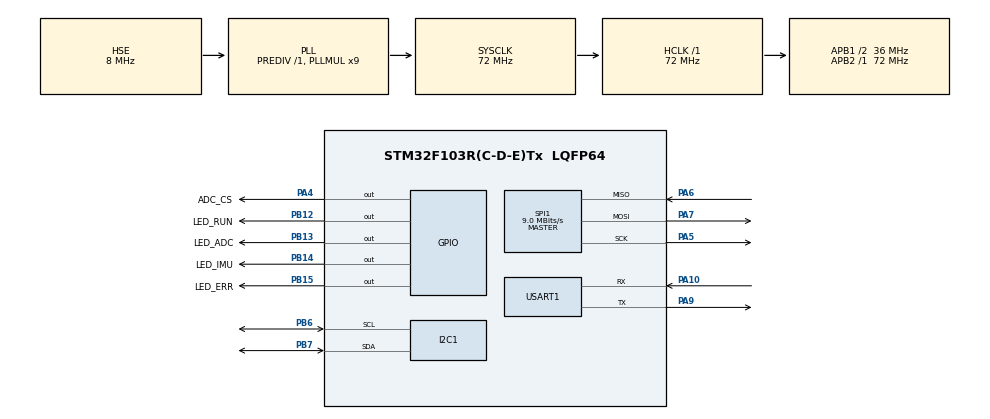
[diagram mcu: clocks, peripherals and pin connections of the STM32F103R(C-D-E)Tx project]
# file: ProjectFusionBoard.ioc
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Mcu.Family=STM32F1
Mcu.Name=STM32F103R(C-D-E)Tx
Mcu.Package=LQFP64
NVIC.PriorityGroup=NVIC_PRIORITYGROUP_4
PA10.Mode=Asynchronous
PA10.Signal=USART1_RX
PA13.Mode=Serial_Wire
PA13.Signal=SYS_JTMS-SWDIO
PA14.Mode=Serial_Wire
PA14.Signal=SYS_JTCK-SWCLK
PA4.GPIO_Label=ADC_CS
PA4.PinState=GPIO_PIN_SET
PA4.Signal=GPIO_Output
PA5.Mode=Full_Duplex_Master
PA5.Signal=SPI1_SCK
PA6.Mode=Full_Duplex_Master
PA6.Signal=SPI1_MISO
PA7.Mode=Full_Duplex_Master
PA7.Signal=SPI1_MOSI
PA9.Mode=Asynchronous
PA9.Signal=USART1_TX
PB12.GPIO_Label=LED_RUN
PB12.PinState=GPIO_PIN_RESET
PB12.Signal=GPIO_Output
PB13.GPIO_Label=LED_ADC
PB13.PinState=GPIO_PIN_RESET
PB13.Signal=GPIO_Output
PB14.GPIO_Label=LED_IMU
PB14.PinState=GPIO_PIN_RESET
PB14.Signal=GPIO_Output
PB15.GPIO_Label=LED_ERR
PB15.PinState=GPIO_PIN_RESET
PB15.Signal=GPIO_Output
PB6.Mode=I2C
PB6.Signal=I2C1_SCL
PB7.Mode=I2C
PB7.Signal=I2C1_SDA
PC14-OSC32_IN.Mode=LSE-External-Oscillator
PC14-OSC32_IN.Signal=RCC_OSC32_IN
PC15-OSC32_OUT.Mode=LSE-External-Oscillator
PC15-OSC32_OUT.Signal=RCC_OSC32_OUT
PD0-OSC_IN.GPIO_Label=RCC_OSC8_IN
PD0-OSC_IN.Mode=HSE-External-Oscillator
PD0-OSC_IN.Signal=RCC_OSC_IN
PD1-OSC_OUT.GPIO_Label=RCC_OSC8_OUT
PD1-OSC_OUT.Mode=HSE-External-Oscillator
PD1-OSC_OUT.Signal=RCC_OSC_OUT
ProjectManager.HeapSize=0x200
ProjectManager.StackSize=0x400
ProjectManager.TargetToolchain=MDK-ARM V5.32
RCC.AHBFreq_Value=72000000
RCC.APB1CLKDivider=RCC_HCLK_DIV2
RCC.APB1Freq_Value=36000000
RCC.APB1TimFreq_Value=72000000
RCC.APB2Freq_Value=72000000
RCC.APB2TimFreq_Value=72000000
RCC.HCLKFreq_Value=72000000
RCC.PLLMUL=RCC_PLL_MUL9
RCC.PLLSourceVirtual=RCC_PLLSOURCE_HSE
RCC.SYSCLKFreq_VALUE=72000000
RCC.SYSCLKSource=RCC_SYSCLKSOURCE_PLLCLK
RCC.USBFreq_Value=72000000
SPI1.BaudRatePrescaler=SPI_BAUDRATEPRESCALER_8
SPI1.CLKPhase=SPI_PHASE_2EDGE
SPI1.CLKPolarity=SPI_POLARITY_HIGH
SPI1.CalculateBaudRate=9.0 MBits/s
SPI1.Direction=SPI_DIRECTION_2LINES
SPI1.Mode=SPI_MODE_MASTER
SPI1.VirtualType=VM_MASTER
USART1.VirtualMode=VM_ASYNC
board=custom

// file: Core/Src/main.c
/* USER CODE BEGIN Header */
/**
  ******************************************************************************
  * @file           : main.c
  * @brief          : Main program body - 3x AD7177 test
  ******************************************************************************
  * @attention
  *
  * Copyright (c) 2026 STMicroelectronics.
  * All rights reserved.
  *
  * This software is licensed under terms that can be found in the LICENSE file
  * in the root directory of this software component.
  * If no LICENSE file comes with this software, it is provided AS-IS.
  *
  ******************************************************************************
  */
/* USER CODE END Header */
#include "main.h"

/* USER CODE BEGIN Includes */
#include <math.h>
#include <stdio.h>
#include <string.h>

#ifndef M_PI
#define M_PI    ((float)3.14159265358979323846f)
#endif

#include "i2c_hal_wrapper.h"
#include "mpu6050.h"
#include "ad7177.h"
#include "mag_residual_filter.h"
#include "uart_proto.h"
/* USER CODE END Includes */

/* USER CODE BEGIN PD */
#define ADC_FREQUENCY_HZ        ((uint32_t)50)   /* Keep <= configured AD7177 ODR (currently 59 SPS). */
#define IMU_FREQUENCY_HZ        ((uint32_t)200)  /* Faster attitude update than ADC loop. */
#define ADC_READ_PERIOD_MS      ((uint32_t)(1000U / ADC_FREQUENCY_HZ))
#define IMU_READ_PERIOD_MS      ((uint32_t)(1000U / IMU_FREQUENCY_HZ))
#define TEST_REPORT_PERIOD_MS   ADC_READ_PERIOD_MS
#define AD7177_DEVICE_COUNT     ((uint8_t)3)
#define MAG_FRONTEND_SCALE      ((float)4.0f)
#define MAG_NT_PER_OE           ((float)100000.0f)

#define AD7177_CS1_PORT         GPIOC
#define AD7177_CS1_PIN          GPIO_PIN_12
#define AD7177_CS2_PORT         GPIOB
#define AD7177_CS2_PIN          GPIO_PIN_3
#define AD7177_CS3_PORT         GPIOB
#define AD7177_CS3_PIN          GPIO_PIN_5

#define STATUS_LED_RUN_PORT     GPIOB
#define STATUS_LED_RUN_PIN      GPIO_PIN_12
#define STATUS_LED_ADC_PORT     GPIOB
#define STATUS_LED_ADC_PIN      GPIO_PIN_13
#define STATUS_LED_IMU_PORT     GPIOB
#define STATUS_LED_IMU_PIN      GPIO_PIN_14
#define STATUS_LED_ERR_PORT     GPIOB
#define STATUS_LED_ERR_PIN      GPIO_PIN_15
#define STATUS_LED_ACTIVE       GPIO_PIN_SET
#define STATUS_LED_INACTIVE     GPIO_PIN_RESET
#define STATUS_LED_RUN_PERIOD_MS       ((uint32_t)500)
#define STATUS_LED_OK_HOLD_MS          ((uint32_t)250)
#define STATUS_LED_ERR_BLINK_MS        ((uint32_t)200)
#define STATUS_LED_ADC_TIMEOUT_LIMIT   ((uint32_t)3)
#define STATUS_LED_IMU_ERROR_LIMIT     ((uint32_t)10)

#define ERR_MPU6050_INIT        ((uint8_t)1)
#define ERR_SPI_ADC_INIT        ((uint8_t)2)
#define ERR_UART_INIT           ((uint8_t)3)
#define MPU6050_STARTUP_DELAY_MS ((uint32_t)100)
#define MPU6050_INIT_RETRY_COUNT ((uint8_t)5)
#define MPU6050_INIT_RETRY_DELAY_MS ((uint32_t)20)
/* USER CODE END PD */

I2C_HandleTypeDef hi2c1;
SPI_HandleTypeDef hspi1;
UART_HandleTypeDef huart1;

/* USER CODE BEGIN PV */
volatile uint32_t g_SystemTick = 0;
static volatile uint8_t g_ErrorCode = 0;
volatile uint8_t g_IsInitialized = 0;
volatile uint8_t g_UartReady = 0;
static volatile uint8_t g_SensorDataFresh = 0;
static volatile uint8_t g_ImuDataFresh = 0;
static volatile uint32_t g_ImuConsecutiveErrors = 0;
static volatile uint32_t g_AdcConsecutiveTimeouts = 0;

static MPU6050_Handle_t hMPU6050;
static AD7177_Handle_t hAD7177[AD7177_DEVICE_COUNT];
UART_Proto_Handle_t hUART_Proto;

static uint32_t lastSensorRead = 0;
static uint32_t lastTestReport = 0;
static uint32_t lastImuRead = 0;

static float adc_voltage[AD7177_DEVICE_COUNT] = {0.0f};
static float mag_nt[AD7177_DEVICE_COUNT] = {0.0f};
static float imu_roll = 0.0f;
static float imu_pitch = 0.0f;
static float imu_temperature = 0.0f;
static float vertical_proj_raw = 0.0f;
static float vertical_proj = 0.0f;
static MagResidualFilter_t mag_residual_filter;
static const float mag_sensitivity_v_per_oe[AD7177_DEVICE_COUNT] = {
  10.3904f,
  10.5235f,
  10.9590f
};
static const float mag_zero_offset_v[AD7177_DEVICE_COUNT] = {
  -0.1350f,
  -0.1949f,
  -0.1795f
};
static int8_t mpu_init_status = MPU6050_OK;
static uint8_t mpu_init_address = 0;
static uint8_t mpu_init_device_id = 0;
static int8_t mpu_probe_status[2] = {MPU6050_ERROR, MPU6050_ERROR};
static uint8_t mpu_probe_device_id[2] = {0, 0};
/* USER CODE END PV */

void SystemClock_Config(void);
static void MX_GPIO_Init(void);
static void MX_I2C1_Init(void);
static void MX_SPI1_Init(void);
static void MX_USART1_UART_Init(void);

/* USER CODE BEGIN PFP */
static void Init_System_Tick(void);
static uint8_t Init_All_Drivers(void);
static void Process_Sensor_Data(void);
static void Process_Test_Report(void);
static void Handle_Init_Error(uint8_t error_code);
static void UART_SendString(const char *str);
static void UART_SendFormattedBuffer(const char *buf, size_t buf_size, int len, uint32_t timeout);
static void UART_SendMpuInitDebug(void);
static void UART_SendI2CBusScan(void);
static void UART_SendDataHeader(void);
static void Update_Status_LEDs(uint8_t init_error_code);
/* USER CODE END PFP */

/* USER CODE BEGIN 0 */
static void UART_SendString(const char *str)
{
  if (str != NULL)
  {
    HAL_UART_Transmit(&huart1, (uint8_t *)str, (uint16_t)strlen(str), 100);
  }
}

static void UART_SendFormattedBuffer(const char *buf, size_t buf_size, int len, uint32_t timeout)
{
  if ((buf != NULL) && (len > 0) && ((size_t)len < buf_size))
  {
    HAL_UART_Transmit(&huart1, (uint8_t *)buf, (uint16_t)len, timeout);
  }
}

static void UART_SendFrequencyInfo(void)
{
  char txBuf[48];
  int len = snprintf(txBuf,
                     sizeof(txBuf),
                     "frequency=%luHz\r\n",
                     (unsigned long)ADC_FREQUENCY_HZ);

  UART_SendFormattedBuffer(txBuf, sizeof(txBuf), len, 100);
}

static void UART_SendDataHeader(void)
{
  UART_SendString("{text}b1_nT,b2_nT,b3_nT,acc_x,acc_y,acc_z,gyro_x,gyro_y,gyro_z,stm32_roll_deg,stm32_pitch_deg,vertical_raw_nT,vertical_corr_nT\r\n");
}

static void UART_SendMpuInitDebug(void)
{
  char txBuf[128];
  int len = snprintf(txBuf,
                     sizeof(txBuf),
                     "MPU_INIT status=%d addr=0x%02X whoami=0x%02X probe[D0]=%d/0x%02X probe[D2]=%d/0x%02X\r\n",
                     (int)mpu_init_status,
                     mpu_init_address,
                     mpu_init_device_id,
                     (int)mpu_probe_status[0],
                     mpu_probe_device_id[0],
                     (int)mpu_probe_status[1],
                     mpu_probe_device_id[1]);

  UART_SendFormattedBuffer(txBuf, sizeof(txBuf), len, 100);
}

static void UART_SendI2CBusScan(void)
{
  char txBuf[160];
  int len = snprintf(txBuf, sizeof(txBuf), "I2C_SCAN:");
  uint8_t found = 0;

  for (uint8_t address = 0x08; address < 0x78; address++)
  {
    if (HAL_I2C_IsDeviceReady(&hi2c1, (uint16_t)(address << 1), 2, 20) == HAL_OK)
    {
      if (len > 0 && len < (int)(sizeof(txBuf) - 8))
      {
        len += snprintf(&txBuf[len], sizeof(txBuf) - (size_t)len, " 0x%02X", address);
        found = 1;
      }
    }
  }

  if (!found && len > 0 && len < (int)(sizeof(txBuf) - 5))
  {
    len += snprintf(&txBuf[len], sizeof(txBuf) - (size_t)len, " none");
  }

  if (len > 0 && len < (int)(sizeof(txBuf) - 3))
  {
    len += snprintf(&txBuf[len], sizeof(txBuf) - (size_t)len, "\r\n");
    UART_SendFormattedBuffer(txBuf, sizeof(txBuf), len, 200);
  }
}
/* USER CODE END 0 */

int main(void)
{
  HAL_Init();
  SystemClock_Config();

  MX_GPIO_Init();
  MX_I2C1_Init();
  MX_SPI1_Init();
  MX_USART1_UART_Init();
  g_UartReady = 1;

  Init_System_Tick();
  UART_SendString("BOOT\r\n");

  if (Init_All_Drivers() != 0)
  {
    while (1)
    {
      Handle_Init_Error(g_ErrorCode);
    }
  }

  imu_roll = hMPU6050.Attitude.Roll;
  imu_pitch = hMPU6050.Attitude.Pitch;
  imu_temperature = hMPU6050.Data.Temp;
  MagResidualFilter_Init(&mag_residual_filter);

  g_IsInitialized = 1;
  (void)imu_temperature;
  UART_SendFrequencyInfo();
  UART_SendString("3xAD7177 test start\r\n");
  UART_SendDataHeader();

  while (1)
  {
    if ((g_SystemTick - lastImuRead) >= IMU_READ_PERIOD_MS)
    {
      lastImuRead = g_SystemTick;

      if ((MPU6050_ReadRawData(&hMPU6050) == MPU6050_OK) &&
          (MPU6050_UpdateAttitude(&hMPU6050) == MPU6050_OK))
      {
        imu_roll = hMPU6050.Attitude.Roll;
        imu_pitch = hMPU6050.Attitude.Pitch;
        imu_temperature = hMPU6050.Data.Temp;
        g_ImuDataFresh = 1;
        g_ImuConsecutiveErrors = 0;
      }
      else
      {
        g_ImuConsecutiveErrors++;
        g_ImuDataFresh = 0;
      }
    }

    if ((g_SystemTick - lastSensorRead) >= ADC_READ_PERIOD_MS)
    {
      float adc_voltage_next[AD7177_DEVICE_COUNT];
      uint8_t all_adc_fresh = 1;

      lastSensorRead = g_SystemTick;
      g_SensorDataFresh = 0;

      for (uint8_t i = 0; i < AD7177_DEVICE_COUNT; i++)
      {
        if ((AD7177_ReadData(&hAD7177[i], 0, &hAD7177[i].RawData[0]) != AD7177_OK) ||
            (AD7177_GetVoltage(&hAD7177[i], 0, &adc_voltage_next[i]) != AD7177_OK))
        {
          all_adc_fresh = 0;
        }
      }

      if (all_adc_fresh)
      {
        for (uint8_t i = 0; i < AD7177_DEVICE_COUNT; i++)
        {
          adc_voltage[i] = adc_voltage_next[i];
        }
        g_SensorDataFresh = 1;
        g_AdcConsecutiveTimeouts = 0;
      }
      else
      {
        g_AdcConsecutiveTimeouts++;
      }
    }

    if (g_SensorDataFresh)
    {
      Process_Sensor_Data();
      g_SensorDataFresh = 0;
      g_ImuDataFresh = 0;
    }
    else if (g_ImuDataFresh)
    {
      g_ImuDataFresh = 0;
    }

    if ((g_SystemTick - lastTestReport) >= TEST_REPORT_PERIOD_MS)
    {
      lastTestReport = g_SystemTick;
      Process_Test_Report();
    }

    Update_Status_LEDs(0);
    HAL_Delay(1);
  }
}

/* USER CODE BEGIN 4 */
static void Init_System_Tick(void)
{
  g_SystemTick = 0;
}

static uint8_t Init_All_Drivers(void)
{
  MPU6050_Config_t mpu_config = {
    .hi2c = &hi2c1,
    .I2cAddress = 0,
    .AccelRange = MPU6050_ACCEL_RANGE_2G,
    .GyroRange = MPU6050_GYRO_RANGE_500DPS,
    .DlpfBandwidth = MPU6050_DLPF_BW_42HZ,
    .SampleRateDiv = 4,
    .Timeout = 100
  };
  const uint8_t mpu_probe_addresses[] = {
    (uint8_t)(MPU6050_ADDR_AD0_LOW << 1),
    (uint8_t)(MPU6050_ADDR_AD0_HIGH << 1)
  };
  AD7177_Config_t adc_config = {
    .hspi = &hspi1,
    .CsPort = AD7177_CS1_PORT,
    .CsPin = AD7177_CS1_PIN,
    .CrcMode = AD7177_CRC_DISABLE,
    .Timeout = 100,
    .ReferenceVoltage_mV = 5000.0f,
    .UseExternalRef = 1
  };

  if (huart1.Instance != USART1)
  {
    g_ErrorCode = ERR_UART_INIT;
    return g_ErrorCode;
  }

  mpu_init_status = MPU6050_ERROR;
  mpu_init_address = 0;
  mpu_init_device_id = 0;
  mpu_probe_status[0] = MPU6050_ERROR;
  mpu_probe_status[1] = MPU6050_ERROR;
  mpu_probe_device_id[0] = 0;
  mpu_probe_device_id[1] = 0;

  HAL_Delay(MPU6050_STARTUP_DELAY_MS);

  for (uint8_t i = 0; i < (sizeof(mpu_probe_addresses) / sizeof(mpu_probe_addresses[0])); i++)
  {
    for (uint8_t retry = 0; retry < MPU6050_INIT_RETRY_COUNT; retry++)
    {
      mpu_config.I2cAddress = mpu_probe_addresses[i];
      mpu_init_address = mpu_probe_addresses[i];
      mpu_init_status = MPU6050_Init(&hMPU6050, &mpu_config);
      mpu_init_device_id = hMPU6050.DeviceID;
      mpu_probe_status[i] = mpu_init_status;
      mpu_probe_device_id[i] = hMPU6050.DeviceID;

      if (mpu_init_status == MPU6050_OK)
      {
        break;
      }

      HAL_Delay(MPU6050_INIT_RETRY_DELAY_MS);
    }

    if (mpu_init_status == MPU6050_OK)
    {
      break;
    }
  }

  if (mpu_init_status != MPU6050_OK)
  {
    g_ErrorCode = ERR_MPU6050_INIT;
    return g_ErrorCode;
  }

  adc_config.Channels[0].Channel = 0;
  adc_config.Channels[0].AinPos = 3;
  adc_config.Channels[0].AinNeg = 4;
  adc_config.Channels[0].SetupSel = 0;
  adc_config.Channels[0].Enabled = 1;

  adc_config.Setups[0].Bipolar = 1;
  adc_config.Setups[0].RefSel = 0;
  /* Keep ADC ODR slightly above the system loop rate so each cycle can fetch fresh data. */
  adc_config.Setups[0].Odr = AD7177_ODR_59SPS;
  adc_config.Setups[0].FilterOrder = 0;

  if (AD7177_Init(&hAD7177[0], &adc_config) != AD7177_OK)
  {
    g_ErrorCode = ERR_SPI_ADC_INIT;
    return g_ErrorCode;
  }

  adc_config.CsPort = AD7177_CS2_PORT;
  adc_config.CsPin = AD7177_CS2_PIN;
  if (AD7177_Init(&hAD7177[1], &adc_config) != AD7177_OK)
  {
    g_ErrorCode = ERR_SPI_ADC_INIT;
    return g_ErrorCode;
  }

  adc_config.CsPort = AD7177_CS3_PORT;
  adc_config.CsPin = AD7177_CS3_PIN;
  if (AD7177_Init(&hAD7177[2], &adc_config) != AD7177_OK)
  {
    g_ErrorCode = ERR_SPI_ADC_INIT;
    return g_ErrorCode;
  }

  return 0;
}

static void Process_Sensor_Data(void)
{
  float roll_rad;
  float pitch_rad;

  if (isnan(imu_roll) || isinf(imu_roll) ||
      isnan(imu_pitch) || isinf(imu_pitch))
  {
    roll_rad = 0.0f;
    pitch_rad = 0.0f;
  }
  else
  {
    roll_rad = imu_roll * ((float)M_PI / 180.0f);
    pitch_rad = imu_pitch * ((float)M_PI / 180.0f);
  }

  const float vertical_unit[3] = {
    -sinf(pitch_rad),
    sinf(roll_rad) * cosf(pitch_rad),
    cosf(roll_rad) * cosf(pitch_rad)
  };

  for (uint8_t i = 0; i < AD7177_DEVICE_COUNT; i++)
  {
    float sensor_voltage;

    if (isnan(adc_voltage[i]) || isinf(adc_voltage[i]))
    {
      adc_voltage[i] = 0.0f;
    }

    sensor_voltage = adc_voltage[i] * MAG_FRONTEND_SCALE;
    mag_nt[i] = ((sensor_voltage - mag_zero_offset_v[i]) /
                 mag_sensitivity_v_per_oe[i]) * MAG_NT_PER_OE;
  }

  vertical_proj_raw = (mag_nt[0] * vertical_unit[0]) +
                      (mag_nt[1] * vertical_unit[1]) +
                      (mag_nt[2] * vertical_unit[2]);

  if (isnan(vertical_proj_raw) || isinf(vertical_proj_raw))
  {
    vertical_proj_raw = 0.0f;
  }

  vertical_proj = MagResidualFilter_Update(&mag_residual_filter,
                                           mag_nt,
                                           vertical_unit,
                                           vertical_proj_raw);
}

static void Process_Test_Report(void)
{
  char txBuf[280];
  int len = snprintf(
      txBuf,
      sizeof(txBuf),
      "{plotter}%.6f,%.6f,%.6f,%.6f,%.6f,%.6f,%.6f,%.6f,%.6f,%.6f,%.6f,%.6f,%.6f\r\n",
      mag_nt[0],
      mag_nt[1],
      mag_nt[2],
      hMPU6050.Data.AccelX,
      hMPU6050.Data.AccelY,
      hMPU6050.Data.AccelZ,
      hMPU6050.Data.GyroX,
      hMPU6050.Data.GyroY,
      hMPU6050.Data.GyroZ,
      hMPU6050.Attitude.Roll,
      hMPU6050.Attitude.Pitch,
      vertical_proj_raw,
      vertical_proj);

  UART_SendFormattedBuffer(txBuf, sizeof(txBuf), len, 100);
}

static void Handle_Init_Error(uint8_t error_code)
{
  char txBuf[48];
  int len = snprintf(txBuf, sizeof(txBuf), "INIT_ERROR:%u\r\n", error_code);

  UART_SendFormattedBuffer(txBuf, sizeof(txBuf), len, 100);

  if (error_code == ERR_MPU6050_INIT)
  {
    UART_SendMpuInitDebug();
    UART_SendI2CBusScan();
  }

  for (uint8_t i = 0; i < 10; i++)
  {
    Update_Status_LEDs(error_code);
    HAL_Delay(50);
  }
}

static void Update_Status_LEDs(uint8_t init_error_code)
{
  (void)init_error_code;
}

/* USER CODE END 4 */

void SystemClock_Config(void)
{
  RCC_OscInitTypeDef RCC_OscInitStruct = {0};
  RCC_ClkInitTypeDef RCC_ClkInitStruct = {0};

  RCC_OscInitStruct.OscillatorType = RCC_OSCILLATORTYPE_HSE;
  RCC_OscInitStruct.HSEState = RCC_HSE_ON;
  RCC_OscInitStruct.HSEPredivValue = RCC_HSE_PREDIV_DIV1;
  RCC_OscInitStruct.HSIState = RCC_HSI_ON;
  RCC_OscInitStruct.PLL.PLLState = RCC_PLL_ON;
  RCC_OscInitStruct.PLL.PLLSource = RCC_PLLSOURCE_HSE;
  RCC_OscInitStruct.PLL.PLLMUL = RCC_PLL_MUL9;
  if (HAL_RCC_OscConfig(&RCC_OscInitStruct) != HAL_OK)
  {
    Error_Handler();
  }

  RCC_ClkInitStruct.ClockType = RCC_CLOCKTYPE_HCLK | RCC_CLOCKTYPE_SYSCLK
                              | RCC_CLOCKTYPE_PCLK1 | RCC_CLOCKTYPE_PCLK2;
  RCC_ClkInitStruct.SYSCLKSource = RCC_SYSCLKSOURCE_PLLCLK;
  RCC_ClkInitStruct.AHBCLKDivider = RCC_SYSCLK_DIV1;
  RCC_ClkInitStruct.APB1CLKDivider = RCC_HCLK_DIV2;
  RCC_ClkInitStruct.APB2CLKDivider = RCC_HCLK_DIV1;

  if (HAL_RCC_ClockConfig(&RCC_ClkInitStruct, FLASH_LATENCY_2) != HAL_OK)
  {
    Error_Handler();
  }
}

static void MX_GPIO_Init(void)
{
  GPIO_InitTypeDefdrift removal GPIO_InitStruct = {0};

  __HAL_RCC_GPIOC_CLK_ENABLE();
  __HAL_RCC_GPIOA_CLK_ENABLE();
  __HAL_RCC_GPIOB_CLK_ENABLE();
  __HAL_RCC_GPIOD_CLK_ENABLE();

  GPIO_InitStruct.Pin = AD7177_CS1_PIN;
  GPIO_InitStruct.Mode = GPIO_MODE_OUTPUT_PP;
  GPIO_InitStruct.Pull = GPIO_PULLUP;
  GPIO_InitStruct.Speed = GPIO_SPEED_FREQ_HIGH;
  HAL_GPIO_Init(AD7177_CS1_PORT, &GPIO_InitStruct);
  HAL_GPIO_WritePin(AD7177_CS1_PORT, AD7177_CS1_PIN, GPIO_PIN_SET);

  GPIO_InitStruct.Pin = AD7177_CS2_PIN;
  HAL_GPIO_Init(AD7177_CS2_PORT, &GPIO_InitStruct);
  HAL_GPIO_WritePin(AD7177_CS2_PORT, AD7177_CS2_PIN, GPIO_PIN_SET);

  GPIO_InitStruct.Pin = AD7177_CS3_PIN;
  HAL_GPIO_Init(AD7177_CS3_PORT, &GPIO_InitStruct);
  HAL_GPIO_WritePin(AD7177_CS3_PORT, AD7177_CS3_PIN, GPIO_PIN_SET);
}

static void MX_I2C1_Init(void)
{
  hi2c1.Instance = I2C1;
  hi2c1.Init.ClockSpeed = 400000;
  hi2c1.Init.DutyCycle = I2C_DUTYCYCLE_2;
  hi2c1.Init.OwnAddress1 = 0;
  hi2c1.Init.AddressingMode = I2C_ADDRESSINGMODE_7BIT;
  hi2c1.Init.DualAddressMode = I2C_DUALADDRESS_DISABLE;
  hi2c1.Init.OwnAddress2 = 0;
  hi2c1.Init.GeneralCallMode = I2C_GENERALCALL_DISABLE;
  hi2c1.Init.NoStretchMode = I2C_NOSTRETCH_DISABLE;

  if (HAL_I2C_Init(&hi2c1) != HAL_OK)
  {
    Error_Handler();
  }
}

static void MX_SPI1_Init(void)
{
  hspi1.Instance = SPI1;
  hspi1.Init.Mode = SPI_MODE_MASTER;
  hspi1.Init.Direction = SPI_DIRECTION_2LINES;
  hspi1.Init.DataSize = SPI_DATASIZE_8BIT;
  hspi1.Init.CLKPolarity = SPI_POLARITY_HIGH;
  hspi1.Init.CLKPhase = SPI_PHASE_2EDGE;
  hspi1.Init.NSS = SPI_NSS_SOFT;
  hspi1.Init.BaudRatePrescaler = SPI_BAUDRATEPRESCALER_16;
  hspi1.Init.FirstBit = SPI_FIRSTBIT_MSB;
  hspi1.Init.TIMode = SPI_TIMODE_DISABLE;
  hspi1.Init.CRCCalculation = SPI_CRCCALCULATION_DISABLE;
  hspi1.Init.CRCPolynomial = 10;

  if (HAL_SPI_Init(&hspi1) != HAL_OK)
  {
    Error_Handler();
  }
}

static void MX_USART1_UART_Init(void)
{
  huart1.Instance = USART1;
  huart1.Init.BaudRate = 115200;
  huart1.Init.WordLength = UART_WORDLENGTH_8B;
  huart1.Init.StopBits = UART_STOPBITS_1;
  huart1.Init.Parity = UART_PARITY_NONE;
  huart1.Init.Mode = UART_MODE_TX_RX;
  huart1.Init.HwFlowCtl = UART_HWCONTROL_NONE;
  huart1.Init.OverSampling = UART_OVERSAMPLING_16;

  if (HAL_UART_Init(&huart1) != HAL_OK)
  {
    Error_Handler();
  }
}

void Error_Handler(void)
{
  __disable_irq();
  if (g_UartReady)
  {
    UART_SendString("FATAL_ERROR\r\n");
  }
  while (1)
  {
  }
}
